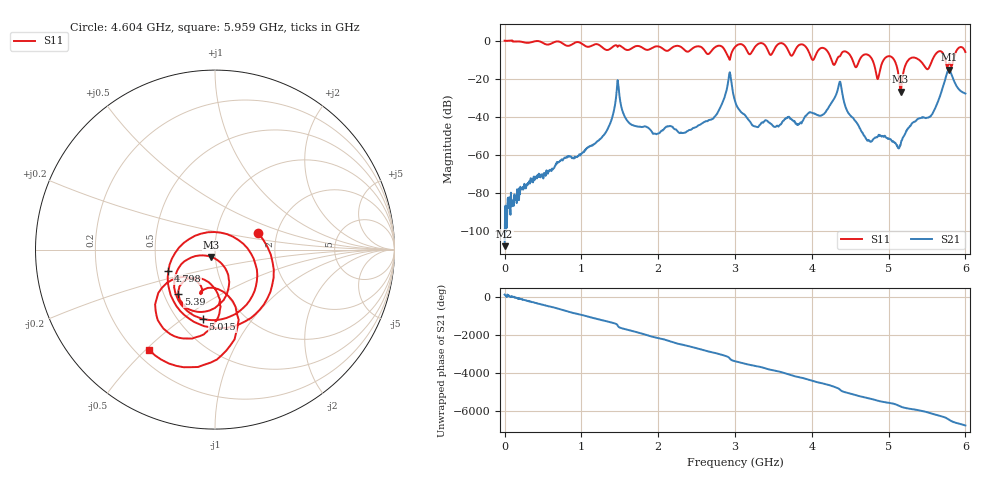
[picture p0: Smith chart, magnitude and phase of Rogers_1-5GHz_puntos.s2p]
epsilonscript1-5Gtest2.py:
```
import skrf as rf
import matplotlib.pyplot as plt
import numpy as np
from scipy.signal import find_peaks

# --- PARÁMETROS FÍSICOS DEL RESONADOR A 1GHZ PARA ROGERS4350B ---
R_rogers = 19.13e-3             # Radio para 1.5GHZ
L_rogers = 2 * np.pi * R_rogers # longitud del anillo
c = 3e8                         # Velocidad de la luz en vacio en m/s
H_rogers = 1.524e-3             # Altura del sustrato
w_rogers = 3.3e-3               # Ancho de las pistas en metros (ejemplo 3 mm)

# --- PARÁMETROS FÍSICOS DEL RESONADOR A 1GHZ PARA FR4 ---
R_fr4 = 17.657e-3                # Radio para 1.5GHZ
L_fr4 = 2 * np.pi * R_fr4       # longitud del anillo
# c = 3e8 (ya definido)
H_fr4 = 1.56e-3                 # Altura del sustrato
w_fr4 = 2.85e-3                  # Ancho de las pistas en metros (ejemplo 3 mm)

# Modos de resonancia --> hasta 4.5GHZ (usando los primeros 3 modos n=1, 2, 3)
n_modos = [1, 2, 3]

# Array para los epsilon_eff y epsilon_r
epsilon_eff_rogers = np.zeros(3)
epsilon_r_rogers = np.zeros(3)

epsilon_eff_fr4 = np.zeros(3)
epsilon_r_fr4 = np.zeros(3)

# Variables para ajuste de busqueda de picos
distance_val = 100
prominence_val = 10

# --- CARGAR ARCHIVOS S2P ---
try:
    ntwk_rogers = rf.Network('Rogers_1-5GHz_puntos.s2p')
except FileNotFoundError:
    print("ERROR: No se encontró 'Rogers_1-5GHz_puntos.s2p'.")
    exit()

try:
    ntwk_fr4 = rf.Network('FR4_1-5GHz_puntos.s2p')
except FileNotFoundError:
    print("ERROR: No se encontró 'FR4_1-5GHz_puntos.s2p'.")
    exit()

print("Archivos cargados exitosamente.")

# --- Graficar ---
fig, ax = plt.subplots(1, 2, figsize=(14, 6))
ntwk_rogers.s21.plot_s_db(ax=ax[0], label='$|S_{21}|$ (S21 Rogers 1.5GHZ)')
ax[0].set_title('ROGERS 4350B $|S_{21}|$')
ax[0].set_xlabel('Frecuencia (Hz)')
ax[0].set_ylabel('Magnitud (dB)')
ax[0].grid(True, which="both", ls="--", alpha=0.6)
ax[0].legend()

ntwk_fr4.s21.plot_s_db(ax=ax[1],label='$|S_{21}|$ (S21 FR4 1.5GHZ)')
ax[1].set_title('FR4 $|S_{21}|$')
ax[1].set_xlabel('Frecuencia (Hz)')
ax[1].set_ylabel('Magnitud (dB)')
ax[1].grid(True, which="both", ls="--", alpha=0.6)
ax[1].legend()

# Mostrar el gráfico
plt.suptitle('Comparación de Parámetros $|S_{21}|$ (Transmisión)') # Título general de la figura
plt.tight_layout(rect=[0, 0, 1, 0.96]) # Ajusta el espacio para el título principal
plt.show()

# --- PROCESAMIENTO ROGERS 4350B ---

frecuencias_rogers = ntwk_rogers.f  # En Hz
frecuencias_rogers_GHz = frecuencias_rogers / 1e9
s21_rogers = ntwk_rogers.s[:, 1, 0]
s21_dB_rogers = 20 * np.log10(np.abs(s21_rogers))

# Filtrar hasta 3.5 GHz
mask = frecuencias_rogers_GHz <= 5
frecuencias_filtradas_rogers = frecuencias_rogers_GHz[mask]
s21_dB_filtrado_rogers = s21_dB_rogers[mask]

# Detectar picos
picos_resonancia_rogers, _ = find_peaks(s21_dB_filtrado_rogers, distance=distance_val, prominence=prominence_val)
picos_a_usar_rogers = picos_resonancia_rogers[:len(n_modos)]
frecuencias_resonancia_rogers = frecuencias_filtradas_rogers[picos_a_usar_rogers]
frecuencias_resonancia_Hz_rogers = frecuencias_resonancia_rogers * 1e9

# Calcular epsilon efectivo y relativo
for i in range(3):
	epsilon_eff_rogers[i] = (n_modos[i] * c / (2 * np.pi * R_rogers * frecuencias_resonancia_Hz_rogers[i])) ** 2

for i in range(3):
	epsilon_r_rogers[i] = (2 * epsilon_eff_rogers[i] - (1 - (1 / np.sqrt(1 + 12 * H_rogers / w_rogers)))) / (1 + (1 / np.sqrt(1 + 12 * H_rogers / w_rogers)))

epsilon_r_promedio_rogers = np.mean(epsilon_r_rogers)

print("\n--- Resultados ROGERS 4350B ---")
print(f"Frecuencias de Resonancia (GHz): {frecuencias_resonancia_rogers}")
print(f"Valores de Epsilon efectivo (εeff): {epsilon_eff_rogers}")
print(f"Valores de Epsilon Relativo (εr): {epsilon_r_rogers}")
print(f"Epsilon Relativo Promedio (εr promedio): {epsilon_r_promedio_rogers:.3f}")

# --- PROCESAMIENTO FR4 ---

frecuencias_fr4 = ntwk_fr4.f  # En Hz
frecuencias_fr4_GHz = frecuencias_fr4 / 1e9
s21_fr4 = ntwk_fr4.s[:, 1, 0]
s21_dB_fr4 = 20 * np.log10(np.abs(s21_fr4))

# Filtrar hasta 3.5 GHz
mask = frecuencias_fr4_GHz <= 5
frecuencias_filtradas_fr4 = frecuencias_fr4_GHz[mask]
s21_dB_filtrado_fr4 = s21_dB_fr4[mask]

# Detectar picos
picos_resonancia_fr4, _ = find_peaks(s21_dB_filtrado_fr4, distance=distance_val, prominence=prominence_val)
picos_a_usar_fr4 = picos_resonancia_fr4[:len(n_modos)]
frecuencias_resonancia_fr4 = frecuencias_filtradas_fr4[picos_a_usar_fr4]
frecuencias_resonancia_Hz_fr4 = frecuencias_resonancia_fr4 * 1e9

# Calcular epsilon efectivo y relativo
for i in range(3):
	epsilon_eff_fr4[i] = (n_modos[i] * c / (2 * np.pi * R_fr4 * frecuencias_resonancia_Hz_fr4[i])) ** 2

for i in range(3):
	epsilon_r_fr4[i] = (2 * epsilon_eff_fr4[i] - (1 - (1 / np.sqrt(1 + 12 * H_fr4 / w_fr4)))) / (1 + (1 / np.sqrt(1 + 12 * H_fr4 / w_fr4)))

epsilon_r_promedio_fr4 = np.mean(epsilon_r_fr4)

print("\n--- Resultados FR4 ---")
print(f"Frecuencias de Resonancia (GHz): {frecuencias_resonancia_fr4}")
print(f"Valores de Epsilon efectivo (εeff): {epsilon_eff_fr4}")
print(f"Valores de Epsilon Relativo (εr): {epsilon_r_fr4}")
print(f"Epsilon Relativo Promedio (εr promedio): {epsilon_r_promedio_fr4:.3f}")

# --- GRÁFICO DE DEBUG (S21 con Picos Detectados) ---

fig, axs = plt.subplots(1, 2, figsize=(14, 6))
plt.suptitle(f'Depuración de Detección de Picos (Distancia={distance_val}, Prominencia={prominence_val})', fontsize=16)

# --- Subplot 1: ROGERS Debug ---
axs[0].plot(frecuencias_filtradas_rogers, s21_dB_filtrado_rogers, label='$|S_{21}|$ ROGERS')
picos_y_rogers = s21_dB_filtrado_rogers[picos_a_usar_rogers]
axs[0].plot(frecuencias_resonancia_rogers, picos_y_rogers, "x", color='red', markersize=10, label='Picos Detectados')
axs[0].set_title('ROGERS 4350B')
axs[0].set_xlabel('Frecuencia (GHz)')
axs[0].set_ylabel('Magnitud ($|S_{21}|$ en dB)')
axs[0].grid(True, which="both", ls="--", alpha=0.6)
axs[0].legend()

# --- Subplot 2: FR4 Debug ---
axs[1].plot(frecuencias_filtradas_fr4, s21_dB_filtrado_fr4, label='$|S_{21}|$ FR4', color='C1')
picos_y_fr4 = s21_dB_filtrado_fr4[picos_a_usar_fr4]
axs[1].plot(frecuencias_resonancia_fr4, picos_y_fr4, "x", color='red', markersize=10, label='Picos Detectados')
axs[1].set_title('FR4')
axs[1].set_xlabel('Frecuencia (GHz)')
axs[1].set_ylabel('Magnitud ($|S_{21}|$ en dB)')
axs[1].grid(True, which="both", ls="--", alpha=0.6)
axs[1].legend()

plt.tight_layout(rect=[0, 0, 1, 0.96])
plt.show()

# --- GRÁFICO COMPARATIVO ---
plt.figure(figsize=(10, 6))

# Curva ROGERS 4350B
plt.plot(frecuencias_resonancia_rogers, epsilon_r_rogers, 'o', color='r', markersize=10, label='εr ROGERS')
plt.axhline(y=epsilon_r_promedio_rogers, color='r', linestyle='--', label=f'Promedio εr ROGERS = {epsilon_r_promedio_rogers:.3f}')

# Etiquetas en cada punto ROGERS
for f, eps in zip(frecuencias_resonancia_rogers, epsilon_r_rogers):
    plt.text(f, eps + 0.03, f"{eps:.3f}\n{f:.3f} GHz", color='r', ha='center', va='bottom', fontsize=12)

# Curva FR4
plt.plot(frecuencias_resonancia_fr4, epsilon_r_fr4, 'o', color='b',markersize=10, label='εr FR4')
plt.axhline(y=epsilon_r_promedio_fr4, color='b', linestyle='--', label=f'Promedio εr FR4 = {epsilon_r_promedio_fr4:.3f}')

for f, eps in zip(frecuencias_resonancia_fr4, epsilon_r_fr4):
    plt.text(f, eps - 0.05, f"{eps:.3f}\n{f:.3f} GHz", color='b', ha='center', va='top', fontsize=12)

# Etiquetas y formato
plt.xlabel('Frecuencias de resonancia (GHz)')
plt.ylabel('εr(f)')
plt.title('Cálculo de Permitividad Relativa (εr): ROGERS 4350B vs FR4')
plt.grid(True, which='both', linestyle='--', alpha=0.6)
plt.ylim(3, 5) # Rango visual ajustado
plt.legend(title='Materiales')
plt.tight_layout()
plt.show()
```
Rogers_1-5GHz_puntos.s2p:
! NanoVNA-App
! Date: 2025-10-01 20:10:30
! Start: 10kHz Stop: 6GHz Points: 1024
! S-Parameter data: F S11 S21 S12 S22
# Hz S RI R 50
!  Frequency  S11_Real  S11_Imag  S21_Real  S21_Imag  S12_Real  S12_Imag  S22_Real  S22_Imag
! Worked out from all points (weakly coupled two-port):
!   1024 points, 10 kHz to 6 GHz, reference 50 ohm
!   highest |S21| = -15.25 dB at 5.783 GHz (marker M1); lowest = -108.1 dB at 10 kHz (marker M2)
!   lowest |S11| = -26.7 dB at 5.155 GHz (marker M3), VSWR 1.10, Z = 47.7 - j3.89 ohm
!   |S11| at or under -10 dB: 4.788 GHz to 4.937 GHz (149 MHz wide, 3.07 % of centre); 5.071 GHz to 5.26 GHz (189.4 MHz wide, 3.67 % of centre); 5.395 GHz to 5.571 GHz (175.9 MHz wide, 3.21 % of centre)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
!   S12 and S22 are empty: the file has one direction only
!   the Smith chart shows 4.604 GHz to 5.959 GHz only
!   S11 on the Smith chart (normalised r, x): 4.604 GHz: 1.59, +0.31; 4.798 GHz: 0.57, -0.15; 5.015 GHz: 0.66, -0.60; 5.39 GHz: 0.59, -0.33; 5.959 GHz: 0.25, -0.51
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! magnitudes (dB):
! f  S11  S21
! 10 kHz  0.0  -108.1
! 1.472 GHz  -3.2  -20.7
! 3.003 GHz  -3.2  -32.1
! 4.604 GHz  -11.8  -44.4
! 4.798 GHz  -10.9  -51.9
! 5.015 GHz  -8.1  -51.8
! 5.155 GHz  -26.7  -55.0
! 5.39 GHz  -9.9  -40.9
! 5.783 GHz  -11.9  -15.3
! 5.959 GHz  -3.5  -27.0
! 6 GHz  -5.9  -27.8
